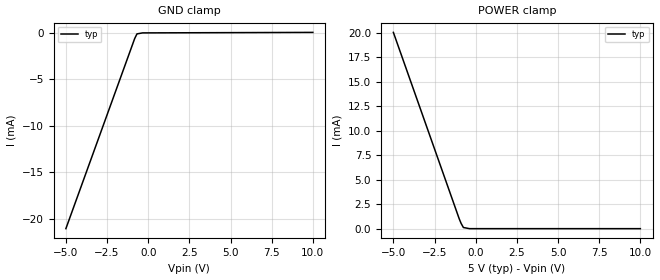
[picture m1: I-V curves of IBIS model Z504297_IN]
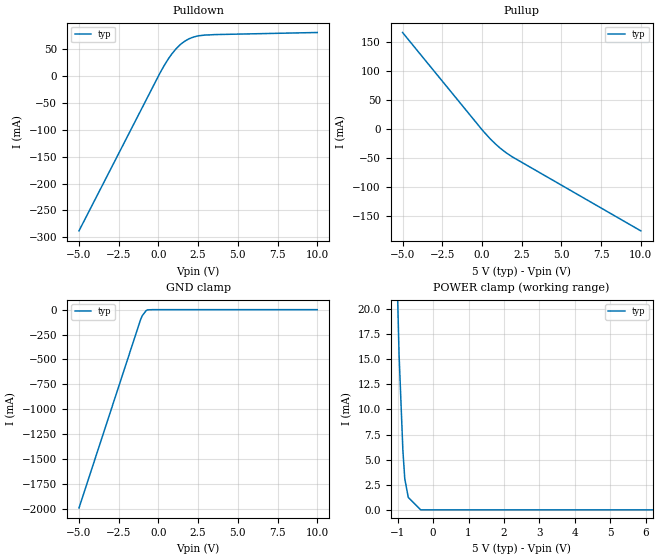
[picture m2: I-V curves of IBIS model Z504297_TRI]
| YOU ARE ONLY AUTHORIZED TO USE THIS SOFTWARE
| ACCORDING TO LICENSOR'S LICENSE RESTRICTIONS.
[IBIS Ver] 3.1
[File Name] mc54hct374aj.ibs
[File Rev] 2.0
[Source] Measured and created by ICX Technology
[Date] Friday 7/14/00 9:08:11 AM
[Copyright]
| (C) COPYRIGHT 1993-2000
| MENTOR GRAPHICS CORPORATION
| ICX STANDARD LIBRARY, ICX PROJECT MODELING,
| ICX CUSTOM MODELING, ICX VENDOR MODEL
| ALL RIGHTS RESERVED.
| THE FOLLOWING ARE TRADEMARKS OR SERVICE MARKS OF
| MENTOR GRAPHICS CORPORATION:ICX (R), ICX STANDARD
| LIBRARY(R), ICX PROJECT MODELING(R), ICX CUSTOM
| MODELING(R), qualityIBIS(TM), MODELVIEWER(TM),
| AND MODELEDITOR(TM)
| ALL COPIES OF SOFTWARE, INCLUDING BUT NOT LIMITED TO
| ANY MODIFICATIONS, ENHANCEMENTS OR DERIVATIVE WORKS,
| MUST CONTAIN ALL MENTOR GRAPHICS CORPORATION'S
| NOTICES AND LEGENDS, INCLUDING THOSE EMBEDDED IN
| SOFTWARE AND THOSE AFFIXED TO SOFTWARE MEDIUM
| AND CONTAINER, AS RECEIVED FROM MENTOR GRAPHICS
| CORPORATION.
|  ZAP Model Builder 2.7
[Component] MC54HCT374AJ
[Manufacturer] OnSemiconductor
[Package]
| variable   typ   min   max
R_pkg  .178ohms NA NA
L_pkg  4.43nH NA NA
C_pkg  .62pF NA NA
[Pin] signal_name  model_name  R_pin  L_pin C_pin
1 _G Z504297_IN .186 5.37n .68p
2 Q0 Z504297_TRI .182 4.89n .65p
3 D0 Z504297_IN .178 4.42n .62p
4 D1 Z504297_IN .174 3.96n .59p
5 Q1 Z504297_TRI .17 3.51n .56p
6 Q2 Z504297_TRI .17 3.51n .56p
7 D2 Z504297_IN .174 3.96n .59p
8 D3 Z504297_IN .178 4.42n .62p
9 Q3 Z504297_TRI .182 4.89n .65p
10 GND GND .186 5.37n .68p
11 CLK Z504297_IN .186 5.37n .68p
12 Q4 Z504297_TRI .182 4.89n .65p
13 D4 Z504297_IN .178 4.42n .62p
14 D5 Z504297_IN .174 3.96n .59p
15 Q5 Z504297_TRI .17 3.51n .56p
16 Q6 Z504297_TRI .17 3.51n .56p
17 D6 Z504297_IN .174 3.96n .59p
18 D7 Z504297_IN .178 4.42n .62p
19 Q7 Z504297_TRI .182 4.89n .65p
20 VCC POWER .186 5.37n .68p
| Models and submodels in the file (2): Z504297_IN (Input), Z504297_TRI (3-state)
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| (C) COPYRIGHT 1993-2000
| MENTOR GRAPHICS CORPORATION
| ICX STANDARD LIBRARY, ICX PROJECT MODELING,
| ICX CUSTOM MODELING, ICX VENDOR MODEL
| ALL RIGHTS RESERVED.
| THE FOLLOWING ARE TRADEMARKS OR SERVICE MARKS OF
| MENTOR GRAPHICS CORPORATION:ICX (R), ICX STANDARD
| LIBRARY(R), ICX PROJECT MODELING(R), ICX CUSTOM
| MODELING(R), qualityIBIS(TM), MODELVIEWER(TM),
| AND MODELEDITOR(TM)
| ALL COPIES OF SOFTWARE, INCLUDING BUT NOT LIMITED TO
| ANY MODIFICATIONS, ENHANCEMENTS OR DERIVATIVE WORKS,
| MUST CONTAIN ALL MENTOR GRAPHICS CORPORATION'S
| NOTICES AND LEGENDS, INCLUDING THOSE EMBEDDED IN
| SOFTWARE AND THOSE AFFIXED TO SOFTWARE MEDIUM
| AND CONTAINER, AS RECEIVED FROM MENTOR GRAPHICS
| CORPORATION.
| Model Application Version 1.89 2/18/99.
[Model] Z504297_IN
Model_type Input
Vinl = 800.0mV
Vinh = 2.000V
C_comp 4.000pF NA NA
| variable typ   min   max
[Voltage Range] 5.000V NA NA
[GND Clamp Reference] 0.000V NA NA
[POWER Clamp Reference] 5.000V NA NA
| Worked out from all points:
|   POWER clamp passes 1 mA (typ) near -1.00 V on its own axis
[GND Clamp]
-5V       -21.05mA   NA         NA
-820.3mV  -628.8uA   NA         NA
-683.6mV  -131.3uA   NA         NA
-341.8mV  -22.61uA   NA         NA
10V       30.5uA     NA         NA
[POWER Clamp]
-5V       20.02mA    NA         NA
-1.001V   1.004mA    NA         NA
-884mV    529.9uA    NA         NA
-747mV    117.1uA    NA         NA
-373.5mV  0A         NA         NA
10V       0A         NA         NA
| (C) COPYRIGHT 1993-2000
| MENTOR GRAPHICS CORPORATION
| ICX STANDARD LIBRARY, ICX PROJECT MODELING,
| ICX CUSTOM MODELING, ICX VENDOR MODEL
| ALL RIGHTS RESERVED.
| THE FOLLOWING ARE TRADEMARKS OR SERVICE MARKS OF
| MENTOR GRAPHICS CORPORATION:ICX (R), ICX STANDARD
| LIBRARY(R), ICX PROJECT MODELING(R), ICX CUSTOM
| MODELING(R), qualityIBIS(TM), MODELVIEWER(TM),
| AND MODELEDITOR(TM)
| ALL COPIES OF SOFTWARE, INCLUDING BUT NOT LIMITED TO
| ANY MODIFICATIONS, ENHANCEMENTS OR DERIVATIVE WORKS,
| MUST CONTAIN ALL MENTOR GRAPHICS CORPORATION'S
| NOTICES AND LEGENDS, INCLUDING THOSE EMBEDDED IN
| SOFTWARE AND THOSE AFFIXED TO SOFTWARE MEDIUM
| AND CONTAINER, AS RECEIVED FROM MENTOR GRAPHICS
| CORPORATION.
| Model Application Version 1.89 2/18/99.
[Model] Z504297_TRI
Model_type 3-state
Vref=0.000V
Rref=500.0Mohms
Cref=50.00pF
Vmeas=1.300V
C_comp 8.000pF NA NA
| variable typ   min   max
[Voltage Range] 5.000V NA NA
[POWER Clamp Reference] 5.000V NA NA
[Pullup Reference] 5.000V NA NA
[Pulldown Reference] 0.000V NA NA
[GND Clamp Reference] 0.000V NA NA
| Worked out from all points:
|   slope of the pulldown table from 0 to 0.75 V, typ, clamps not added: 20.1 ohm
|   slope of the pullup table from 0 to 0.75 V, typ, clamps not added: 34.1 ohm
[GND Clamp]
-5V       -1.994A    NA         NA
-1.113V   -95.77mA   NA         NA
-1.019V   -61.69mA   NA         NA
-770.9mV  -9.052mA   NA         NA
-683.8mV  -2.268mA   NA         NA
-341.9mV  0A         NA         NA
10V       0A         NA         NA
[Pulldown]
-5V       -287.9mA   NA         NA
101.7mV   5.817mA    NA         NA
405.3mV   21.62mA    NA         NA
840.2mV   40.98mA    NA         NA
1.363V    58.18mA    NA         NA
1.69V     65.4mA     NA         NA
2.122V    71.7mA     NA         NA
2.979V    76.46mA    NA         NA
10V       81.06mA    NA         NA
[Pullup]
-5V       166.5mA    NA         NA
41mV      -2.446mA   NA         NA
508mV     -16.59mA   NA         NA
854mV     -25.88mA   NA         NA
1.167V    -33.43mA   NA         NA
1.538V    -41.29mA   NA         NA
1.886V    -47.67mA   NA         NA
10V       -175.7mA   NA         NA
[POWER Clamp]
-5V       737.6mA    NA         NA
-1.045V   26.9mA     NA         NA
-962mV    15.47mA    NA         NA
-854mV    5.903mA    NA         NA
-801mV    3.11mA     NA         NA
-703mV    1.245mA    NA         NA
-351.5mV  0A         NA         NA
10V       0A         NA         NA
[Ramp]
| variable typ min max
dV/dt_r 2.836/800.0p NA NA
dV/dt_f 2.836/723.0p NA NA
R_load = 500.0Ohms
